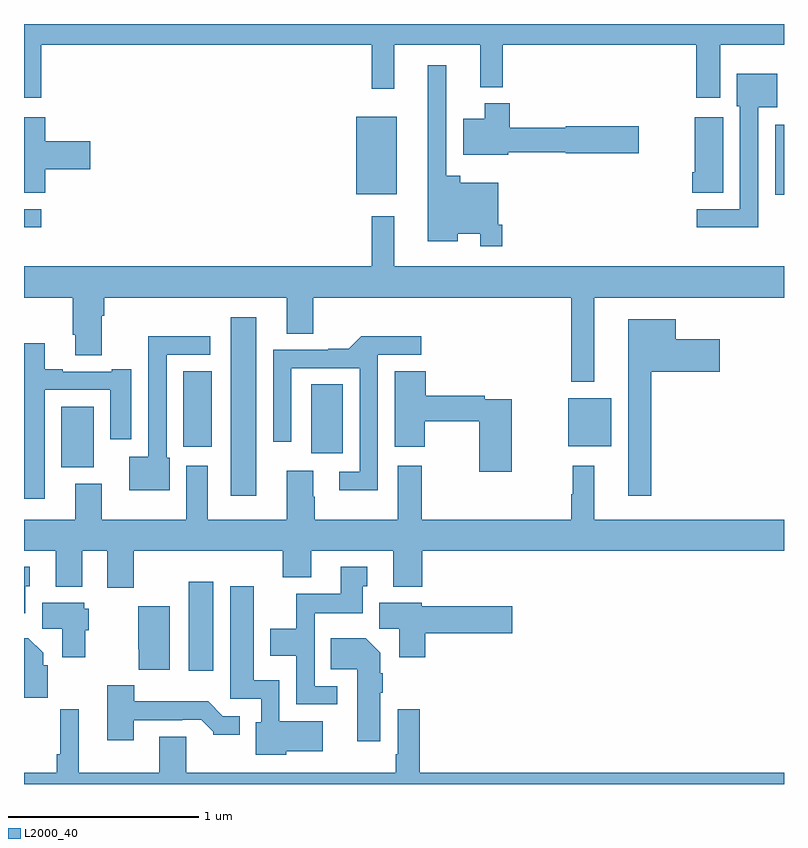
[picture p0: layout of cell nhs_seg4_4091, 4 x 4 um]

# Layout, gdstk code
import gdstk
lib = gdstk.Library(unit=1e-6, precision=1e-09)
def R(c, l, rs):  # rectangles x0, y0, x1, y1
    for r in rs: c.add(gdstk.rectangle(r[:2], r[2:], *l))
def P(c, l, *ps):  # polygons
    for p in ps: c.add(gdstk.Polygon(p, *l))
L2000_40 = (2000, 40)

nhs_seg4_4091 = lib.new_cell('nhs_seg4_4091')
R(nhs_seg4_4091, L2000_40, [(327.866,821.496,327.997,821.965), (328.088,822.417,328.222,823.357), (327.197,822.566,327.367,822.886), (328.511,822.642,328.678,823.004), (327.839,822.675,327.988,823.073), (329.864,822.677,330.091,822.931), (327,823.829,327.091,823.926), (330.953,824.001,331,824.371), (328.748,824.003,328.963,824.413)])
P(nhs_seg4_4091, L2000_40, [(327.092,824.792),(328.831,824.792),(328.831,824.559),(328.949,824.559),(328.949,824.792),(329.402,824.792),(329.402,824.567),(329.519,824.567),(329.519,824.792),(330.539,824.792),(330.539,824.511),(330.664,824.511),(330.664,824.792),(331,824.792),(331,824.9),(327,824.9),(327,824.511),(327.092,824.511)],
  [(329.516,823.843),(329.496,823.843),(329.496,824.065),(329.297,824.065),(329.297,824.101),(329.223,824.101),(329.223,824.683),(329.126,824.683),(329.126,823.757),(329.284,823.757),(329.284,823.796),(329.4,823.796),(329.4,823.731),(329.516,823.731)],
  [(330.864,824.462),(330.964,824.462),(330.964,824.638),(330.752,824.638),(330.752,824.466),(330.768,824.466),(330.768,823.926),(330.54,823.926),(330.54,823.829),(330.864,823.829)],
  [(329.548,824.224),(329.85,824.224),(329.85,824.219),(330.235,824.219),(330.235,824.361),(329.85,824.361),(329.85,824.353),(329.556,824.353),(329.556,824.482),(329.426,824.482),(329.426,824.401),(329.312,824.401),(329.312,824.213),(329.548,824.213)],
  [(327.113,824.135),(327.349,824.135),(327.349,824.282),(327.113,824.282),(327.113,824.41),(327,824.41),(327,824.011),(327.113,824.011)],
  [(330.679,824.41),(330.53,824.41),(330.53,824.119),(330.518,824.119),(330.518,824.011),(330.679,824.011)],
  [(330.001,823.46),(331,823.46),(331,823.624),(328.948,823.624),(328.948,823.888),(328.831,823.888),(328.831,823.624),(327,823.624),(327,823.46),(327.257,823.46),(327.257,823.264),(327.269,823.264),(327.269,823.156),(327.409,823.156),(327.409,823.364),(327.422,823.364),(327.422,823.46),(328.382,823.46),(328.382,823.27),(328.522,823.27),(328.522,823.46),(329.88,823.46),(329.88,823.016),(330.001,823.016)],
  [(330.301,823.07),(330.661,823.07),(330.661,823.24),(330.43,823.24),(330.43,823.345),(330.179,823.345),(330.179,822.417),(330.301,822.417)],
  [(327.766,822.618),(327.75,822.618),(327.75,823.158),(327.979,823.158),(327.979,823.256),(327.654,823.256),(327.654,822.622),(327.554,822.622),(327.554,822.446),(327.766,822.446)],
  [(328.863,823.158),(329.092,823.158),(329.092,823.256),(328.775,823.256),(328.709,823.19),(328.601,823.19),(328.601,823.185),(328.311,823.185),(328.311,822.702),(328.407,822.702),(328.407,823.089),(328.767,823.089),(328.767,822.543),(328.659,822.543),(328.659,822.446),(328.863,822.446)],
  [(327.108,822.975),(327.455,822.975),(327.455,822.714),(327.565,822.714),(327.565,823.084),(327.461,823.084),(327.461,823.071),(327.205,823.071),(327.205,823.084),(327.109,823.084),(327.109,823.219),(327,823.219),(327,822.402),(327.108,822.402)],
  [(329.568,822.924),(329.426,822.924),(329.426,822.944),(329.114,822.944),(329.114,823.073),(328.952,823.073),(328.952,822.675),(329.109,822.675),(329.109,822.808),(329.395,822.808),(329.395,822.543),(329.568,822.543)],
  [(327.577,822.128),(328.361,822.128),(328.361,821.987),(328.513,821.987),(328.513,822.128),(328.943,822.128),(328.943,821.939),(329.096,821.939),(329.096,822.128),(331,822.128),(331,822.292),(330.001,822.292),(330.001,822.574),(329.887,822.574),(329.887,822.425),(329.88,822.425),(329.88,822.292),(329.093,822.292),(329.093,822.574),(328.967,822.574),(328.967,822.292),(328.53,822.292),(328.53,822.413),(328.522,822.413),(328.522,822.55),(328.382,822.55),(328.382,822.292),(327.967,822.292),(327.967,822.574),(327.854,822.574),(327.854,822.292),(327.409,822.292),(327.409,822.481),(327.269,822.481),(327.269,822.292),(327,822.292),(327,822.128),(327.167,822.128),(327.167,821.939),(327.307,821.939),(327.307,822.128),(327.437,822.128),(327.437,821.934),(327.577,821.934)],
  [(328.648,821.415),(328.53,821.415),(328.53,821.798),(328.783,821.798),(328.783,821.94),(328.807,821.94),(328.807,822.043),(328.667,822.043),(328.667,821.902),(328.432,821.902),(328.432,821.716),(328.295,821.716),(328.295,821.576),(328.434,821.576),(328.434,821.319),(328.648,821.319)],
  [(327.007,821.94),(327.031,821.94),(327.031,822.043),(327,822.043),(327,821.798),(327.007,821.798)],
  [(328.38,821.072),(328.573,821.072),(328.573,821.23),(328.344,821.23),(328.344,821.446),(328.21,821.446),(328.21,821.941),(328.085,821.941),(328.085,821.349),(328.248,821.349),(328.248,821.226),(328.22,821.226),(328.22,821.054),(328.38,821.054)],
  [(327.322,821.709),(327.34,821.709),(327.34,821.823),(327.318,821.823),(327.318,821.854),(327.095,821.854),(327.095,821.716),(327.2,821.716),(327.2,821.568),(327.322,821.568)],
  [(329.111,821.693),(329.569,821.693),(329.569,821.835),(329.094,821.835),(329.094,821.854),(328.871,821.854),(328.871,821.716),(328.976,821.716),(328.976,821.568),(329.111,821.568)],
  [(327.766,821.836),(327.602,821.836),(327.602,821.608),(327.604,821.608),(327.604,821.501),(327.766,821.501)],
  [(327.126,821.526),(327.1,821.526),(327.1,821.59),(327.022,821.668),(327,821.668),(327,821.354),(327.126,821.354)],
  [(328.876,821.38),(328.889,821.38),(328.889,821.483),(328.876,821.483),(328.876,821.59),(328.798,821.668),(328.615,821.668),(328.615,821.504),(328.754,821.504),(328.754,821.124),(328.876,821.124)],
  [(327.577,821.235),(327.833,821.235),(327.833,821.238),(327.932,821.238),(327.996,821.174),(327.996,821.159),(328.135,821.159),(328.135,821.256),(328.047,821.256),(327.969,821.335),(327.58,821.335),(327.58,821.419),(327.437,821.419),(327.437,821.13),(327.577,821.13)],
  [(331,820.96),(329.084,820.96),(329.084,821.293),(328.968,821.293),(328.968,821.056),(328.956,821.056),(328.956,820.96),(327.853,820.96),(327.853,821.15),(327.713,821.15),(327.713,820.96),(327.289,820.96),(327.289,821.293),(327.19,821.293),(327.19,821.056),(327.172,821.056),(327.172,820.96),(327,820.96),(327,820.9),(331,820.9)])

lib.write_gds('nhs_seg4_4091.gds')
